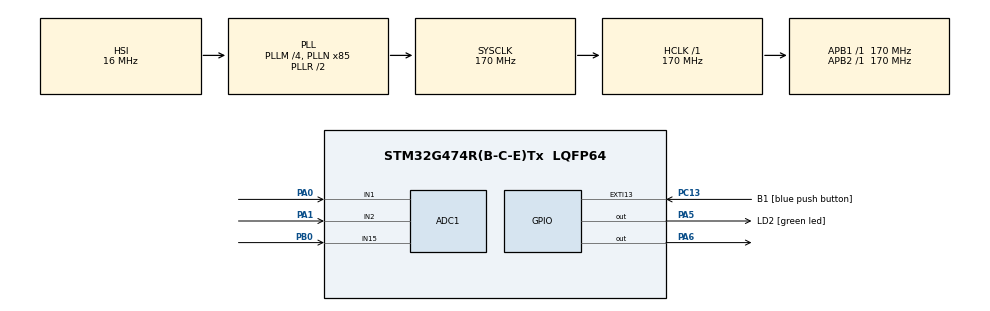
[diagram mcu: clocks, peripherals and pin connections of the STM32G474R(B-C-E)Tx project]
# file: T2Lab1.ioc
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ADC1.Channel-5\#ChannelRegularConversion=ADC_CHANNEL_1
ADC1.Channel-6\#ChannelRegularConversion=ADC_CHANNEL_2
ADC1.Channel-7\#ChannelRegularConversion=ADC_CHANNEL_15
ADC1.Channel-8\#ChannelRegularConversion=ADC_CHANNEL_TEMPSENSOR_ADC1
ADC1.ContinuousConvMode=ENABLE
ADC1.DMAContinuousRequests=ENABLE
ADC1.ExternalTrigConv=ADC_EXTERNALTRIG_T3_TRGO
ADC1.NbrOfConversion=4
ADC1.NbrOfConversionFlag=1
ADC1.OffsetNumber-5\#ChannelRegularConversion=ADC_OFFSET_NONE
ADC1.OffsetNumber-6\#ChannelRegularConversion=ADC_OFFSET_NONE
ADC1.OffsetNumber-7\#ChannelRegularConversion=ADC_OFFSET_NONE
ADC1.OffsetNumber-8\#ChannelRegularConversion=ADC_OFFSET_NONE
ADC1.Rank-5\#ChannelRegularConversion=1
ADC1.Rank-6\#ChannelRegularConversion=2
ADC1.Rank-7\#ChannelRegularConversion=3
ADC1.Rank-8\#ChannelRegularConversion=4
ADC1.SamplingTime-5\#ChannelRegularConversion=ADC_SAMPLETIME_640CYCLES_5
ADC1.SamplingTime-6\#ChannelRegularConversion=ADC_SAMPLETIME_640CYCLES_5
ADC1.SamplingTime-7\#ChannelRegularConversion=ADC_SAMPLETIME_640CYCLES_5
ADC1.SamplingTime-8\#ChannelRegularConversion=ADC_SAMPLETIME_640CYCLES_5
ADC1.master=1
Dma.ADC1.0.Direction=DMA_PERIPH_TO_MEMORY
Dma.ADC1.0.EventEnable=DISABLE
Dma.ADC1.0.Instance=DMA1_Channel1
Dma.ADC1.0.MemDataAlignment=DMA_MDATAALIGN_HALFWORD
Dma.ADC1.0.MemInc=DMA_MINC_ENABLE
Dma.ADC1.0.Mode=DMA_CIRCULAR
Dma.ADC1.0.PeriphDataAlignment=DMA_PDATAALIGN_HALFWORD
Dma.ADC1.0.PeriphInc=DMA_PINC_DISABLE
Dma.ADC1.0.Polarity=HAL_DMAMUX_REQ_GEN_RISING
Dma.ADC1.0.Priority=DMA_PRIORITY_LOW
Dma.ADC1.0.RequestNumber=1
Dma.ADC1.0.SignalID=NONE
Dma.ADC1.0.SyncEnable=DISABLE
Dma.ADC1.0.SyncPolarity=HAL_DMAMUX_SYNC_NO_EVENT
Dma.ADC1.0.SyncRequestNumber=1
Dma.ADC1.0.SyncSignalID=NONE
Dma.Request0=ADC1
Mcu.Family=STM32G4
Mcu.Name=STM32G474R(B-C-E)Tx
Mcu.Package=LQFP64
NVIC.DMA1_Channel1_IRQn=true\:0\:0\:false\:false\:true\:false\:true\:true
NVIC.EXTI15_10_IRQn=true\:0\:0\:false\:false\:true\:true\:true\:true
NVIC.PriorityGroup=NVIC_PRIORITYGROUP_4
NVIC.TIM2_IRQn=true\:0\:0\:false\:false\:true\:true\:true\:true
NVIC.TIM3_IRQn=true\:0\:0\:false\:false\:true\:true\:true\:true
PA0.Mode=IN1-Single-Ended
PA0.Signal=ADC1_IN1
PA1.Mode=IN2-Single-Ended
PA1.Signal=ADC1_IN2
PA13.GPIO_Label=T_SWDIO
PA13.Signal=SYS_JTMS-SWDIO
PA14.GPIO_Label=T_SWCLK
PA14.Signal=SYS_JTCK-SWCLK
PA2.GPIO_Label=LPUART1_TX [STLINKV3E_VCP_RX]
PA2.Signal=LPUART1_TX
PA3.GPIO_Label=LPUART1_RX [STLINKV3E_VCP_TX]
PA3.Signal=LPUART1_RX
PA5.GPIO_Label=LD2 [green led]
PA5.Signal=GPIO_Output
PA6.Signal=GPIO_Output
PB0.Mode=IN15-Single-Ended
PB0.Signal=ADC1_IN15
PB3.GPIO_Label=T_SWO
PB3.Signal=SYS_JTDO-SWO
PC13.GPIO_Label=B1 [blue push button]
PC13.GPIO_PuPd=GPIO_PULLUP
PC13.Signal=GPXTI13
PC14-OSC32_IN.GPIO_Label=RCC_OSC32_IN
PC14-OSC32_IN.Signal=RCC_OSC32_IN
PC15-OSC32_OUT.GPIO_Label=RCC_OSC32_OUT
PC15-OSC32_OUT.Signal=RCC_OSC32_OUT
PF0-OSC_IN.GPIO_Label=RCC_OSC_IN
PF0-OSC_IN.Signal=RCC_OSC_IN
PF1-OSC_OUT.GPIO_Label=RCC_OSC_OUT
PF1-OSC_OUT.Signal=RCC_OSC_OUT
ProjectManager.HeapSize=0x200
ProjectManager.StackSize=0x400
ProjectManager.TargetToolchain=STM32CubeIDE
RCC.ADC12Freq_Value=170000000
RCC.ADC345Freq_Value=170000000
RCC.AHBFreq_Value=170000000
RCC.APB1Freq_Value=170000000
RCC.APB1TimFreq_Value=170000000
RCC.APB2Freq_Value=170000000
RCC.APB2TimFreq_Value=170000000
RCC.CortexFreq_Value=170000000
RCC.EXTERNAL_CLOCK_VALUE=12288000
RCC.HCLKFreq_Value=170000000
RCC.HSE_VALUE=24000000
RCC.HSI48_VALUE=48000000
RCC.HSI_VALUE=16000000
RCC.LSE_VALUE=32768
RCC.PLLM=RCC_PLLM_DIV4
RCC.PLLN=85
RCC.RTCClockSelection=RCC_RTCCLKSOURCE_LSE
RCC.SYSCLKFreq_VALUE=170000000
RCC.SYSCLKSource=RCC_SYSCLKSOURCE_PLLCLK
RCC.USBFreq_Value=170000000
RCC.VCOOutputFreq_Value=340000000
TIM2.PeriodNoDither=65535
TIM2.Prescaler=169
TIM2.TIM_MasterOutputTrigger=TIM_TRGO_UPDATE
TIM3.PeriodNoDither=999
TIM3.Prescaler=16999
TIM3.TIM_MasterOutputTrigger=TIM_TRGO_UPDATE
VP_ADC1_TempSens_Input.Mode=IN-TempSens
VP_SYS_VS_DBSignals.Mode=DisableDeadBatterySignals
VP_TIM2_VS_ClockSourceINT.Mode=Internal
VP_TIM3_VS_ClockSourceINT.Mode=Internal
board=NUCLEO-G474RE

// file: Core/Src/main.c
/* USER CODE BEGIN Header */
/* USER CODE END Header */
#include "main.h"

/* USER CODE BEGIN Includes */
#include <stdlib.h>
/* USER CODE END Includes */

ADC_HandleTypeDef hadc1;
DMA_HandleTypeDef hdma_adc1;

TIM_HandleTypeDef htim2;
TIM_HandleTypeDef htim3;

/* USER CODE BEGIN PV */
// --- Task 1 Variables ---
uint16_t adc_buffer[40];    // Buffer รับค่าจาก DMA
uint32_t adc_avg[4];        // ค่าเฉลี่ย
uint32_t val_TempSet = 0;   // 20-40 C
uint32_t N_Fan = 0;         // 0-500 (ค่า N)
uint32_t M_Light = 0;       // 0-2000 (ค่า M)
float internal_temp = 0.0;

// --- Task 2 Variables ---
uint32_t last_NFan = 0, last_MLight = 0;

// State Machine Control
// 0=Idle, 1=Wait100ms, 2=PulseN, 3=PulseM
volatile uint8_t pulse_state = 0;

// Flag ป้องกันการ Trigger ซ้อน (1 = กำลังยิง Pulse อยู่ ห้ามกวน)
volatile uint8_t is_pulse_running = 0;
/* USER CODE END PV */

void SystemClock_Config(void);
static void MX_GPIO_Init(void);
static void MX_DMA_Init(void);
static void MX_ADC1_Init(void);
static void MX_TIM3_Init(void);
static void MX_TIM2_Init(void);
/* USER CODE BEGIN PFP */
void Calculate_ADC(void);
/* USER CODE END PFP */

int main(void)
{

  /* MCU Configuration--------------------------------------------------------*/

  /* Reset of all peripherals, Initializes the Flash interface and the Systick. */
  HAL_Init();

  /* Configure the system clock */
  SystemClock_Config();

  /* Initialize all configured peripherals */
  MX_GPIO_Init();
  MX_DMA_Init();
  MX_ADC1_Init();
  MX_TIM3_Init();
  MX_TIM2_Init();
  /* USER CODE BEGIN 2 */
  HAL_ADCEx_Calibration_Start(&hadc1, ADC_SINGLE_ENDED);
  HAL_ADC_Start_DMA(&hadc1, (uint32_t*)adc_buffer, 40);
  HAL_TIM_Base_Start(&htim3);
  /* USER CODE END 2 */

  /* Infinite loop */
  while (1)
  {

  }
}

void SystemClock_Config(void)
{
  RCC_OscInitTypeDef RCC_OscInitStruct = {0};
  RCC_ClkInitTypeDef RCC_ClkInitStruct = {0};

  /** Configure the main internal regulator output voltage
  */
  HAL_PWREx_ControlVoltageScaling(PWR_REGULATOR_VOLTAGE_SCALE1_BOOST);

  /** Initializes the RCC Oscillators according to the specified parameters
  * in the RCC_OscInitTypeDef structure.
  */
  RCC_OscInitStruct.OscillatorType = RCC_OSCILLATORTYPE_HSI;
  RCC_OscInitStruct.HSIState = RCC_HSI_ON;
  RCC_OscInitStruct.HSICalibrationValue = RCC_HSICALIBRATION_DEFAULT;
  RCC_OscInitStruct.PLL.PLLState = RCC_PLL_ON;
  RCC_OscInitStruct.PLL.PLLSource = RCC_PLLSOURCE_HSI;
  RCC_OscInitStruct.PLL.PLLM = RCC_PLLM_DIV4;
  RCC_OscInitStruct.PLL.PLLN = 85;
  RCC_OscInitStruct.PLL.PLLP = RCC_PLLP_DIV2;
  RCC_OscInitStruct.PLL.PLLQ = RCC_PLLQ_DIV2;
  RCC_OscInitStruct.PLL.PLLR = RCC_PLLR_DIV2;
  if (HAL_RCC_OscConfig(&RCC_OscInitStruct) != HAL_OK)
  {
    Error_Handler();
  }

  /** Initializes the CPU, AHB and APB buses clocks
  */
  RCC_ClkInitStruct.ClockType = RCC_CLOCKTYPE_HCLK|RCC_CLOCKTYPE_SYSCLK
                              |RCC_CLOCKTYPE_PCLK1|RCC_CLOCKTYPE_PCLK2;
  RCC_ClkInitStruct.SYSCLKSource = RCC_SYSCLKSOURCE_PLLCLK;
  RCC_ClkInitStruct.AHBCLKDivider = RCC_SYSCLK_DIV1;
  RCC_ClkInitStruct.APB1CLKDivider = RCC_HCLK_DIV1;
  RCC_ClkInitStruct.APB2CLKDivider = RCC_HCLK_DIV1;

  if (HAL_RCC_ClockConfig(&RCC_ClkInitStruct, FLASH_LATENCY_4) != HAL_OK)
  {
    Error_Handler();
  }
}

static void MX_ADC1_Init(void)
{

  ADC_MultiModeTypeDef multimode = {0};
  ADC_ChannelConfTypeDef sConfig = {0};

  /** Common config
  */
  hadc1.Instance = ADC1;
  hadc1.Init.ClockPrescaler = ADC_CLOCK_SYNC_PCLK_DIV4;
  hadc1.Init.Resolution = ADC_RESOLUTION_12B;
  hadc1.Init.DataAlign = ADC_DATAALIGN_RIGHT;
  hadc1.Init.GainCompensation = 0;
  hadc1.Init.ScanConvMode = ADC_SCAN_ENABLE;
  hadc1.Init.EOCSelection = ADC_EOC_SINGLE_CONV;
  hadc1.Init.LowPowerAutoWait = DISABLE;
  hadc1.Init.ContinuousConvMode = ENABLE;
  hadc1.Init.NbrOfConversion = 4;
  hadc1.Init.DiscontinuousConvMode = DISABLE;
  hadc1.Init.ExternalTrigConv = ADC_EXTERNALTRIG_T3_TRGO;
  hadc1.Init.ExternalTrigConvEdge = ADC_EXTERNALTRIGCONVEDGE_RISING;
  hadc1.Init.DMAContinuousRequests = ENABLE;
  hadc1.Init.Overrun = ADC_OVR_DATA_PRESERVED;
  hadc1.Init.OversamplingMode = DISABLE;
  if (HAL_ADC_Init(&hadc1) != HAL_OK)
  {
    Error_Handler();
  }

  /** Configure the ADC multi-mode
  */
  multimode.Mode = ADC_MODE_INDEPENDENT;
  if (HAL_ADCEx_MultiModeConfigChannel(&hadc1, &multimode) != HAL_OK)
  {
    Error_Handler();
  }

  /** Configure Regular Channel
  */
  sConfig.Channel = ADC_CHANNEL_1;
  sConfig.Rank = ADC_REGULAR_RANK_1;
  sConfig.SamplingTime = ADC_SAMPLETIME_640CYCLES_5;
  sConfig.SingleDiff = ADC_SINGLE_ENDED;
  sConfig.OffsetNumber = ADC_OFFSET_NONE;
  sConfig.Offset = 0;
  if (HAL_ADC_ConfigChannel(&hadc1, &sConfig) != HAL_OK)
  {
    Error_Handler();
  }

  /** Configure Regular Channel
  */
  sConfig.Channel = ADC_CHANNEL_2;
  sConfig.Rank = ADC_REGULAR_RANK_2;
  if (HAL_ADC_ConfigChannel(&hadc1, &sConfig) != HAL_OK)
  {
    Error_Handler();
  }

  /** Configure Regular Channel
  */
  sConfig.Channel = ADC_CHANNEL_15;
  sConfig.Rank = ADC_REGULAR_RANK_3;
  if (HAL_ADC_ConfigChannel(&hadc1, &sConfig) != HAL_OK)
  {
    Error_Handler();
  }

  /** Configure Regular Channel
  */
  sConfig.Channel = ADC_CHANNEL_TEMPSENSOR_ADC1;
  sConfig.Rank = ADC_REGULAR_RANK_4;
  if (HAL_ADC_ConfigChannel(&hadc1, &sConfig) != HAL_OK)
  {
    Error_Handler();
  }

}

static void MX_TIM2_Init(void)
{

  TIM_ClockConfigTypeDef sClockSourceConfig = {0};
  TIM_MasterConfigTypeDef sMasterConfig = {0};

  htim2.Instance = TIM2;
  htim2.Init.Prescaler = 169;
  htim2.Init.CounterMode = TIM_COUNTERMODE_UP;
  htim2.Init.Period = 65535;
  htim2.Init.ClockDivision = TIM_CLOCKDIVISION_DIV1;
  htim2.Init.AutoReloadPreload = TIM_AUTORELOAD_PRELOAD_DISABLE;
  if (HAL_TIM_Base_Init(&htim2) != HAL_OK)
  {
    Error_Handler();
  }
  sClockSourceConfig.ClockSource = TIM_CLOCKSOURCE_INTERNAL;
  if (HAL_TIM_ConfigClockSource(&htim2, &sClockSourceConfig) != HAL_OK)
  {
    Error_Handler();
  }
  sMasterConfig.MasterOutputTrigger = TIM_TRGO_UPDATE;
  sMasterConfig.MasterSlaveMode = TIM_MASTERSLAVEMODE_DISABLE;
  if (HAL_TIMEx_MasterConfigSynchronization(&htim2, &sMasterConfig) != HAL_OK)
  {
    Error_Handler();
  }

}

static void MX_TIM3_Init(void)
{

  TIM_ClockConfigTypeDef sClockSourceConfig = {0};
  TIM_MasterConfigTypeDef sMasterConfig = {0};

  htim3.Instance = TIM3;
  htim3.Init.Prescaler = 16999;
  htim3.Init.CounterMode = TIM_COUNTERMODE_UP;
  htim3.Init.Period = 999;
  htim3.Init.ClockDivision = TIM_CLOCKDIVISION_DIV1;
  htim3.Init.AutoReloadPreload = TIM_AUTORELOAD_PRELOAD_DISABLE;
  if (HAL_TIM_Base_Init(&htim3) != HAL_OK)
  {
    Error_Handler();
  }
  sClockSourceConfig.ClockSource = TIM_CLOCKSOURCE_INTERNAL;
  if (HAL_TIM_ConfigClockSource(&htim3, &sClockSourceConfig) != HAL_OK)
  {
    Error_Handler();
  }
  sMasterConfig.MasterOutputTrigger = TIM_TRGO_UPDATE;
  sMasterConfig.MasterSlaveMode = TIM_MASTERSLAVEMODE_DISABLE;
  if (HAL_TIMEx_MasterConfigSynchronization(&htim3, &sMasterConfig) != HAL_OK)
  {
    Error_Handler();
  }

}

static void MX_DMA_Init(void)
{

  /* DMA controller clock enable */
  __HAL_RCC_DMAMUX1_CLK_ENABLE();
  __HAL_RCC_DMA1_CLK_ENABLE();

  /* DMA interrupt init */
  /* DMA1_Channel1_IRQn interrupt configuration */
  HAL_NVIC_SetPriority(DMA1_Channel1_IRQn, 0, 0);
  HAL_NVIC_EnableIRQ(DMA1_Channel1_IRQn);

}

static void MX_GPIO_Init(void)
{
  GPIO_InitTypeDef GPIO_InitStruct = {0};

  /* GPIO Ports Clock Enable */
  __HAL_RCC_GPIOC_CLK_ENABLE();
  __HAL_RCC_GPIOF_CLK_ENABLE();
  __HAL_RCC_GPIOA_CLK_ENABLE();
  __HAL_RCC_GPIOB_CLK_ENABLE();

  /*Configure GPIO pin Output Level */
  HAL_GPIO_WritePin(GPIOA, LD2_Pin|GPIO_PIN_6, GPIO_PIN_RESET);

  /*Configure GPIO pin : B1_Pin */
  GPIO_InitStruct.Pin = B1_Pin;
  GPIO_InitStruct.Mode = GPIO_MODE_IT_RISING;
  GPIO_InitStruct.Pull = GPIO_PULLUP;
  HAL_GPIO_Init(B1_GPIO_Port, &GPIO_InitStruct);

  /*Configure GPIO pins : LPUART1_TX_Pin LPUART1_RX_Pin */
  GPIO_InitStruct.Pin = LPUART1_TX_Pin|LPUART1_RX_Pin;
  GPIO_InitStruct.Mode = GPIO_MODE_AF_PP;
  GPIO_InitStruct.Pull = GPIO_NOPULL;
  GPIO_InitStruct.Speed = GPIO_SPEED_FREQ_LOW;
  GPIO_InitStruct.Alternate = GPIO_AF12_LPUART1;
  HAL_GPIO_Init(GPIOA, &GPIO_InitStruct);

  /*Configure GPIO pins : LD2_Pin PA6 */
  GPIO_InitStruct.Pin = LD2_Pin|GPIO_PIN_6;
  GPIO_InitStruct.Mode = GPIO_MODE_OUTPUT_PP;
  GPIO_InitStruct.Pull = GPIO_NOPULL;
  GPIO_InitStruct.Speed = GPIO_SPEED_FREQ_LOW;
  HAL_GPIO_Init(GPIOA, &GPIO_InitStruct);

  /* EXTI interrupt init*/
  HAL_NVIC_SetPriority(EXTI15_10_IRQn, 0, 0);
  HAL_NVIC_EnableIRQ(EXTI15_10_IRQn);

}

/* USER CODE BEGIN 4 */
/* USER CODE BEGIN 4 */
// ----------------------------------------------------------------------------
// Task 1: ADC Processing (Triggered by TIM3 every 100ms)
// ----------------------------------------------------------------------------
void HAL_ADC_ConvCpltCallback(ADC_HandleTypeDef* hadc)
{
    if (hadc->Instance == ADC1)
    {
        // 1. Calculate Average (from 10 samples)
        uint32_t sum[4] = {0};
        for (int i = 0; i < 40; i++) sum[i % 4] += adc_buffer[i];
        for(int i=0; i<4; i++) adc_avg[i] = sum[i] / 10;

        // 2. Map Values
        M_Light = (adc_avg[0] * 2000) / 4095;
        N_Fan   = (adc_avg[1] * 500) / 4095;
        val_TempSet = 20 + ((adc_avg[2] * 20) / 4095);
        internal_temp = __HAL_ADC_CALC_TEMPERATURE(3300, adc_avg[3], ADC_RESOLUTION_12B);

        // 3. Check Trigger Logic (Hysteresis > 1)
        if ((abs((int)N_Fan - (int)last_NFan) > 1 || abs((int)M_Light - (int)last_MLight) > 1)
             && is_pulse_running == 0)
        {
            // Update last values
            last_NFan = N_Fan;
            last_MLight = M_Light;

            is_pulse_running = 1;
            pulse_state = 1;

            // Start Condition
            HAL_GPIO_WritePin(GPIOA, GPIO_PIN_5, GPIO_PIN_RESET);

            // Set TIM2 for 100ms delay (100,000us)
            __HAL_TIM_SET_AUTORELOAD(&htim2, 100000 - 1);
            __HAL_TIM_SET_COUNTER(&htim2, 0);
            HAL_TIM_Base_Start_IT(&htim2);
        }
    }
}

// ----------------------------------------------------------------------------
// Task 2: Pulse Generation State Machine (Controlled by TIM2)
// ----------------------------------------------------------------------------
void HAL_TIM_PeriodElapsedCallback(TIM_HandleTypeDef *htim)
{
    if (htim->Instance == TIM2)
    {
        switch (pulse_state)
        {
            case 1:
                HAL_GPIO_WritePin(GPIOA, GPIO_PIN_5, GPIO_PIN_SET);

                // Set Timer for N + 100 us
                __HAL_TIM_SET_AUTORELOAD(&htim2, (N_Fan + 100) - 1);

                pulse_state = 2;
                break;

            case 2: // End of N High -> Start Pulse M (Low)
                HAL_GPIO_WritePin(GPIOA, GPIO_PIN_5, GPIO_PIN_RESET);

                // Set Timer for M + 100 us
                __HAL_TIM_SET_AUTORELOAD(&htim2, (M_Light + 100) - 1);

                pulse_state = 3;
                break;

            case 3: // End of M Low -> Back to Idle (High)
                HAL_GPIO_WritePin(GPIOA, GPIO_PIN_5, GPIO_PIN_SET);

                // Stop TIM2
                HAL_TIM_Base_Stop_IT(&htim2);

                pulse_state = 0;
                is_pulse_running = 0;
                break;
        }
    }
}
/* USER CODE END 4 */
/* USER CODE END 4 */

void Error_Handler(void)
{
}
